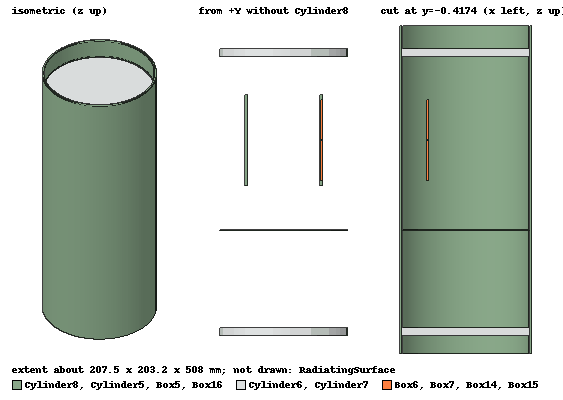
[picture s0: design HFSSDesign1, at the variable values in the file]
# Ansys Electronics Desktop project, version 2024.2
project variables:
  $Antenna_X_Offset = 2.3in
  $Substrate_Width = 0.11246602meter
  $Substrate_Thickness = 0.006meter
  $Substrate_Length = 0.109494912meter
  $X_Offset = 0.02418705meter
  $Patch_Length = 0.07244977meter
  $Patch_Width = 0.11271778meter
  $Tube_Height = 60cm
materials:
  vacuum: permittivity=1
  FR4_epoxy: permittivity=4.4 dielectric_loss_tangent=0.02
  pec: conductivity=1e+30
  Rogers RT/duroid 5880 (tm): permittivity=2.2 dielectric_loss_tangent=0.0009
  Rogers TMM 4 (tm): permittivity=4.5 dielectric_loss_tangent=0.002
  polyethylene: permittivity=2.25 dielectric_loss_tangent=0.001
  air: permittivity=1.0006 permeability=1.0000004
  Rocketry Fiberglass Epoxy: permittivity=3 dielectric_loss_tangent=0.0075
  aluminum: permeability=1.000021 conductivity=38000000
  copper: permeability=0.999991 conductivity=58000000

design HFSSDesign1 (HFSS, HFSS Terminal Network, model units mm)
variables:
  subH = 0.1575cm
  subX = 2cm
  subY = 15cm
  Port_Gap_Width = 0.32cm
  Antenna_Width = 0.30464cm
  dipole_length = 12.7307976cm  # optimise 6.3653988cm..19.0961964cm
  thickness = 0.0348mm  # optimise 0.0174mm..0.0522mm
  gap = 0.9906mm  # optimise 0.4953mm..1.4859mm
  length = 125.1mm  # optimise 62.55mm..187.65mm
  pcb_thickness = 0.8mm  # optimise 0.4mm..1.2mm
  width = 3mm  # optimise 1.5mm..4.5mm
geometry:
  coordinate_system RelativeCS1 = origin=($Antenna_X_Offset, 0, 3in) x=(0mm, 0mm, 1mm) y=(-1mm, 0mm, 0mm)
  coordinate_system RelativeCS2 = origin=(-$Antenna_X_Offset, 0, 3in) x=(0mm, 0mm, 1mm) y=(1mm, 0mm, 0mm)
  Cylinder5 [FR4_epoxy] = cylinder(axis=Z, base_centre=(0mm, 0mm, -2.5in), radius=4in-0.125in, height=0.0625in)
  Cylinder6 [aluminum] = cylinder(axis=Z, base_centre=(0mm, 0mm, -(10/25.2 + 8) in), radius=(4-0.125) in, height=-0.5in)
  Cylinder7 [aluminum] = cylinder(axis=Z, base_centre=(0mm, 0mm, -(10/25.2 -9) in), radius=(4-0.125) in, height=-0.5in)
  Cylinder8 [Rocketry Fiberglass Epoxy] = cylinder(axis=Z, base_centre=(0mm, 0mm, -10in), radius=4in, height=20in)
  Cylinder9 = cylinder(axis=Z, base_centre=(0mm, 0mm, -10in), radius=(4in-0.125in), height=20in)
  Cylinder8.subtract(Cylinder9)
  Box6 [copper] = box(corner=(-gap / 2, -width/2, pcb_thickness / 2), size=(-(length - gap) / 2, width, thickness)) in RelativeCS1
  Box7 [copper] = box(corner=(gap / 2, -width / 2, pcb_thickness / 2), size=((length - gap) / 2, width, thickness)) in RelativeCS1
  Box5 [FR4_epoxy] = box(corner=(-70.5mm, -2.5mm, -pcb_thickness / 2), size=(141mm, 5mm, pcb_thickness)) in RelativeCS1
  Box12 = box(corner=(-2.5mm, -70.5mm, -pcb_thickness/2), size=(5mm, 141mm, pcb_thickness)) in RelativeCS1
  Box13 = box(corner=(2.5mm, 2.5mm, -pcb_thickness/2), size=(9.5mm, 9.5mm, pcb_thickness)) in RelativeCS1
  Box8 = box(corner=(-2.5mm, -2.5mm, -pcb_thickness/2), size=(-9.5mm, -9.5mm, pcb_thickness)) in RelativeCS1
  Box5.unite(Box12, Box13, Box8)
  Box10 = box(corner=(12mm, 2.5mm, -5mm), size=(-14.525mm, 68.225mm, 10mm)) in RelativeCS1
  Box5.subtract(Box10)
  Box11 = box(corner=(-12mm, -2.5mm, -2.5mm), size=(17mm, -72.5mm, 5mm)) in RelativeCS1
  Box5.subtract(Box11)
  Rectangle1 = rectangle(corner=(-gap/2, -width/2, pcb_thickness / 2), x_size=gap, y_size=width) in RelativeCS1
  Box14 [copper] = box(corner=(-gap / 2, -width/2, pcb_thickness / 2), size=(-(length - gap) / 2, width, thickness)) in RelativeCS2
  Box15 [copper] = box(corner=(gap / 2, -width / 2, pcb_thickness / 2), size=((length - gap) / 2, width, thickness)) in RelativeCS2
  Box16 [FR4_epoxy] = box(corner=(-70.5mm, -2.5mm, -pcb_thickness / 2), size=(141mm, 5mm, pcb_thickness)) in RelativeCS2
  Box17 = box(corner=(-2.5mm, -70.5mm, -pcb_thickness/2), size=(5mm, 141mm, pcb_thickness)) in RelativeCS2
  Box18 = box(corner=(2.5mm, 2.5mm, -pcb_thickness/2), size=(9.5mm, 9.5mm, pcb_thickness)) in RelativeCS2
  Box19 = box(corner=(-2.5mm, -2.5mm, -pcb_thickness/2), size=(-9.5mm, -9.5mm, pcb_thickness)) in RelativeCS2
  Box16.unite(Box17, Box18, Box19)
  Box20 = box(corner=(12mm, 2.5mm, -5mm), size=(-14.525mm, 68.225mm, 10mm)) in RelativeCS2
  Box16.subtract(Box20)
  Box21 = box(corner=(-12mm, -2.5mm, -2.5mm), size=(17mm, -72.5mm, 5mm)) in RelativeCS2
  Box16.subtract(Box21)
  Rectangle2 = rectangle(corner=(-gap/2, -width/2, pcb_thickness / 2), x_size=gap, y_size=width) in RelativeCS2
  RadiatingSurface [vacuum] = region(absolute_offset=109.28962mm on all sides) in RelativeCS1
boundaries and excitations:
  Open1: Radiation Objects=RadiatingSurface
  1: Lumped Port Objects=Rectangle1 LumpedPortType=Modal Modes{Mode1{IntLine{(58.42, -0.4, 75.7047) -> (58.42, -0.4, 76.6953)} CharImp=Zpi}} Impedance="50ohm - 70i ohm"
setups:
  Setup1: HfssDriven Frequency=0.915GHz MaxDeltaS=0.02 MaximumPasses=20 MinimumPasses=1 MinimumConvergedPasses=1 PercentRefinement=30 BasisOrder=1 PortAccuracy=2 DrivenSolverType="Direct Solver" VariablesForDerivatives(Antenna_Width, dipole_length, gap, length, pcb_thickness, Port_Gap_Width, subH, subX, subY) VariableFlagsForDerivatives(1, 1, 1, 1, 1, 1, 1, 1, 1)
    sweep Sweep: 0.3GHz to 3GHz, 401 points; Type=Interpolating InterpTolerance=0.5 InterpMaxSolns=250 PassivityErrorTolerance=0.0001
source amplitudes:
  1:1: 1W 0deg
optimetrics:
  OptimizationSetup1: Optimization Optimizer="Quasi Newton" AnalysisStopOptions{StopForNumIteration MaxNumIteration=1000 MinNumIteration=10} CostFuncNormType=L2 Acceptable_Cost=0 Noise=0.0001 UpdateDesignWhenDone
    goal dB(St(1,1)) <= -15 weight 1 on Setup1 : Sweep at Freq 0.91425GHz
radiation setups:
  3D: Infinite Sphere Theta=0deg..180deg step 2deg Phi=-180deg..180deg step 2deg CoordSystem=RelativeCS1
  Elevation: Infinite Sphere Theta=-180deg..180deg step 1deg Phi=0deg..90deg step 90deg CoordSystem=RelativeCS1
  Azimuth: Infinite Sphere Theta=90deg..90deg step 0deg Phi=-180deg..180deg step 1deg CoordSystem=RelativeCS1
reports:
  Terminal S Parameter Plot 1: dB(St(1,1)) vs Freq on Setup1 : Sweep; markers MX1 at x=9.15e+08, MY1 at y=-9.83516
  Gain Plot 1: dB(GainTotal) vs Phi, Theta on Setup1 : LastAdaptive, 3D [Freq=0.915GHz]
